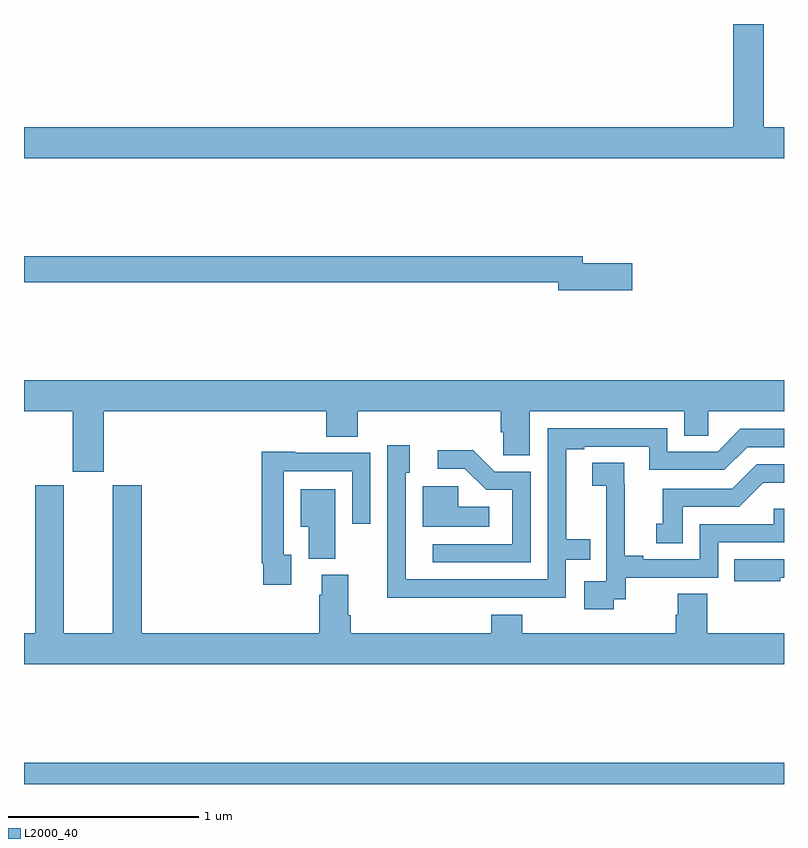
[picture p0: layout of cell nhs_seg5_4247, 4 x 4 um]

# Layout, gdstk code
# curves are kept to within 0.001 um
import gdstk
lib = gdstk.Library(unit=1e-6, precision=1e-09)
def R(c, l, rs):  # rectangles x0, y0, x1, y1
    for r in rs: c.add(gdstk.rectangle(r[:2], r[2:], *l))
def P(c, l, *ps):  # polygons
    for p in ps: c.add(gdstk.Polygon(p, *l))
L2000_40 = (2000, 40)

nhs_seg5_4247 = lib.new_cell('nhs_seg5_4247')
R(nhs_seg5_4247, L2000_40, [(361,854.799,365,854.912)])
P(nhs_seg5_4247, L2000_40, [(365,858.256),(364.893,858.256),(364.893,858.799),(364.733,858.799),(364.733,858.256),(361,858.256),(361,858.092),(365,858.092)],
  [(364.201,857.54),(363.94,857.54),(363.94,857.576),(361,857.576),(361,857.44),(363.812,857.44),(363.812,857.398),(364.201,857.398)],
  [(361.42,856.76),(362.591,856.76),(362.591,856.627),(362.756,856.627),(362.756,856.76),(363.509,856.76),(363.509,856.651),(363.522,856.651),(363.522,856.528),(363.661,856.528),(363.661,856.76),(364.475,856.76),(364.475,856.633),(364.602,856.633),(364.602,856.76),(365,856.76),(365,856.924),(361,856.924),(361,856.76),(361.256,856.76),(361.256,856.443),(361.42,856.443)],
  [(363.374,855.78),(363.852,855.78),(363.852,855.978),(363.98,855.978),(363.98,856.087),(363.853,856.087),(363.853,856.56),(363.949,856.56),(363.949,856.575),(364.29,856.575),(364.29,856.452),(364.686,856.452),(364.806,856.572),(365,856.572),(365,856.668),(364.77,856.668),(364.65,856.548),(364.386,856.548),(364.386,856.671),(363.756,856.671),(363.756,855.876),(363.009,855.876),(363.009,856.437),(363.031,856.437),(363.031,856.582),(362.913,856.582),(362.912,855.779)],
  [(363.666,856.443),(363.477,856.443),(363.364,856.556),(363.177,856.556),(363.177,856.458),(363.321,856.458),(363.432,856.347),(363.57,856.347),(363.57,856.062),(363.15,856.062),(363.15,855.966),(363.666,855.966)],
  [(362.407,856.005),(362.367,856.005),(362.367,856.446),(362.727,856.446),(362.727,856.17),(362.823,856.17),(362.823,856.542),(362.427,856.542),(362.427,856.549),(362.251,856.549),(362.251,855.961),(362.259,855.961),(362.259,855.849),(362.407,855.849)],
  [(364.104,855.771),(364.166,855.771),(364.166,855.885),(364.653,855.885),(364.653,856.071),(365,856.071),(365,856.249),(364.947,856.249),(364.947,856.167),(364.557,856.167),(364.557,855.981),(364.258,855.981),(364.258,856.001),(364.162,856.001),(364.162,856.379),(364.16,856.379),(364.16,856.49),(363.99,856.49),(363.99,856.369),(364.064,856.369),(364.064,856.171),(364.065,856.171),(364.065,855.867),(363.948,855.867),(363.948,855.72),(364.104,855.72)],
  [(364.468,856.257),(364.764,856.257),(364.892,856.385),(365,856.385),(365,856.482),(364.857,856.482),(364.728,856.353),(364.361,856.353),(364.361,856.17),(364.328,856.17),(364.328,856.066),(364.468,856.066)],
  [(365,855.592),(364.595,855.592),(364.595,855.8),(364.442,855.8),(364.442,855.69),(364.43,855.69),(364.43,855.592),(363.623,855.592),(363.623,855.691),(363.458,855.691),(363.458,855.592),(362.72,855.592),(362.72,855.688),(362.707,855.688),(362.707,855.9),(362.567,855.9),(362.567,855.794),(362.555,855.794),(362.555,855.592),(361.619,855.592),(361.619,856.371),(361.466,856.371),(361.466,855.592),(361.21,855.592),(361.21,856.371),(361.058,856.371),(361.058,855.592),(361,855.592),(361,855.428),(365,855.428)],
  [(363.448,856.258),(363.285,856.258),(363.285,856.365),(363.098,856.365),(363.098,856.154),(363.448,856.154)],
  [(362.638,856.351),(362.456,856.351),(362.456,856.154),(362.498,856.154),(362.498,855.985),(362.638,855.985)],
  [(364.981,855.885),(365,855.885),(365,855.981),(364.738,855.981),(364.738,855.866),(364.981,855.866)])

lib.write_gds('nhs_seg5_4247.gds')
